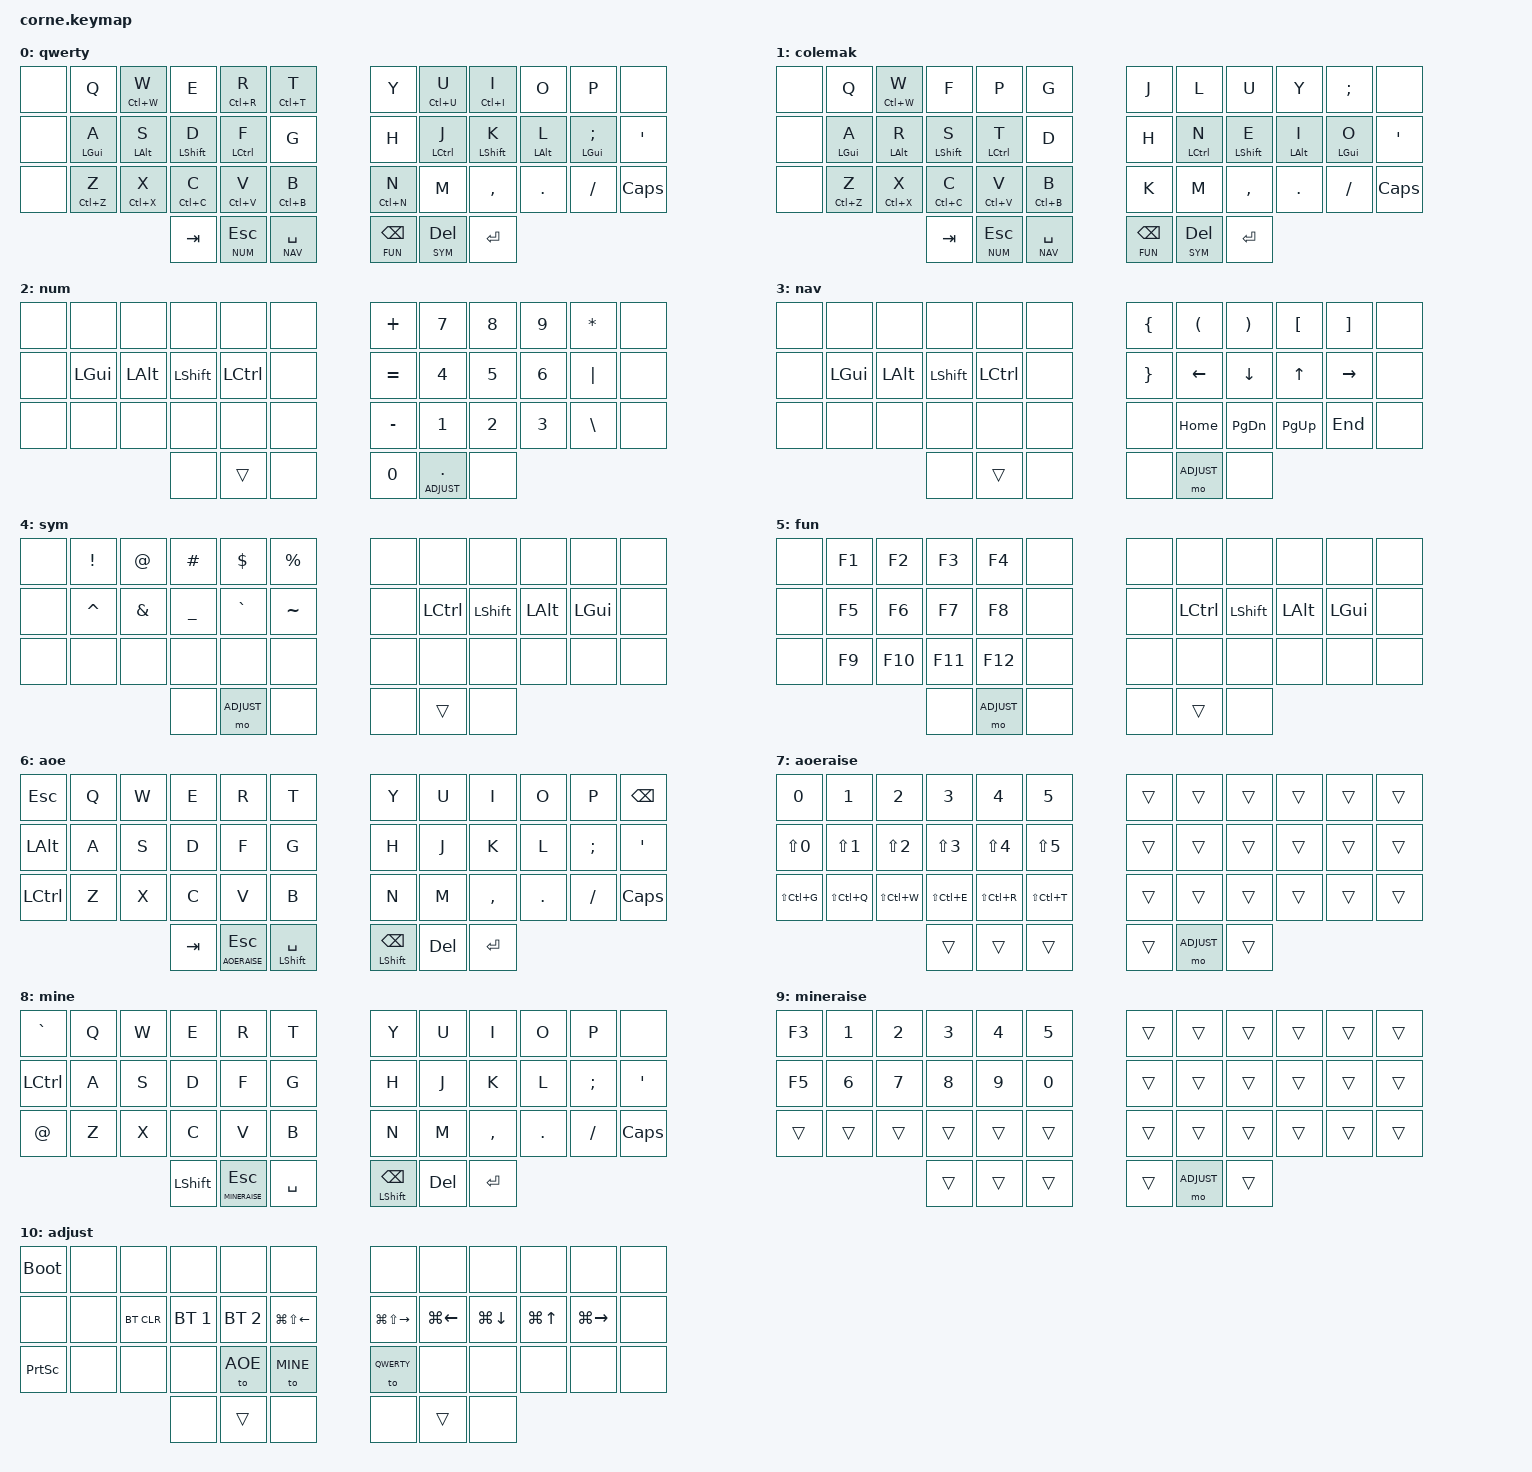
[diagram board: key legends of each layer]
/*
 * Copyright (c) 2020 The ZMK Contributors
 *
 * SPDX-License-Identifier: MIT
 */

#include <behaviors.dtsi>
#include <dt-bindings/zmk/outputs.h>
#include <dt-bindings/zmk/rgb.h>
#include <dt-bindings/zmk/keys.h>
#include <dt-bindings/zmk/bt.h>

//Layer definitions
#define QWERTY 0
#define COLEMAK 1
#define NUM 2
#define NAV 3
#define SYM 4
#define FUN 5
#define AOE 6
#define AOERAISE 7
#define MINE 8
#define MINERAISE 9
#define ADJUST 10

/ {
    combos {
        compatible = "zmk,combos";
        combo_esc {
            timeout-ms = <50>;
            key-positions = <21 22>;
            bindings = <&kp SQT>;
            layers = <QWERTY COLEMAK>;
        };
    };
    behaviors {
        mt_s: ctrl_shift {
            compatible = "zmk,behavior-hold-tap";
            label = "HOMEROW_MODS_CTRL_SHIFT";
            #binding-cells = <2>;
            tapping-term-ms = <180>;
            quick_tap_ms = <0>;
            flavor = "balanced";
            bindings = <&kp>, <&kp>;
        };
        mt_l: alt_gui {
            compatible = "zmk,behavior-hold-tap";
            label = "HOMEROW_MODS_ALT_GUI";
            #binding-cells = <2>;
            tapping-term-ms = <300>;
            quick_tap_ms = <0>;
            flavor = "tap-preferred";
            bindings = <&kp>, <&kp>;
        };
    };

    keymap {
            compatible = "zmk,keymap";

            qwerty {
// GASC home row mods. Layer key mods. Mod tap for zxcv. Mod tap for backspace/shift
// ------------------------------------   --------------------------------------
// |    |  Q  |  W  |  E  |  R  |  T  |   |  Y  |  U  |  I  |  O  |  P  |      |
// |    |  A  |  S  |  D  |  F  |  G  |   |  H  |  J  |  K  |  L  |  ;  |  '   |
// |    |  Z  |  X  |  C  |  V  |  B  |   |  N  |  M  |  ,  |  .  |  /  | CAPS |
//                  | TAB | NUM | NAV |   | FUN | SYM | ENT|
//                        | ESC | SPC |   | BSP | DEL |
        bindings = <
    &none   &kp Q           &mt_l LC(W) W   &kp E           &mt_l LC(R) R   &mt_l LC(T) T   /**/    &kp Y           &mt_l LC(U) U   &mt_l LC(I) I  &kp O        &kp P           &none
    &none   &mt_l LGUI A    &mt_l LALT S    &mt_s LSHFT D   &mt_s LCTRL F   &kp G           /**/    &kp H           &mt_s LCTRL J   &mt_s LSHFT K  &mt_l LALT L &mt_l LGUI SEMI &kp SQT
    &none   &mt_l LC(Z) Z   &mt_l LC(X) X   &mt_l LC(C) C   &mt_l LC(V) V   &mt_l LC(B) B   /**/    &mt_l LC(N) N   &kp M           &kp COMMA      &kp DOT      &kp FSLH        &kp CAPS
                                            &kp TAB         &lt NUM ESC   	&lt NAV SPACE   /**/    &lt FUN BSPC  	&lt SYM DEL   	&kp ENTER
                        >;
            };

            colemak {
// GASC home row mods. Layer key mods. Mod tap for zxcv. Mod tap for backspace/shift
// ------------------------------------   --------------------------------------
// |    |  Q  |  W  |  F  |  P  |  G  |   |  J  |  L  |  U  |  Y  |  ;  |      |
// |    |  A  |  R  |  S  |  T  |  D  |   |  H  |  N  |  E  |  I  |  O  |  '   |
// |    |  Z  |  X  |  C  |  V  |  B  |   |  K  |  M  |  ,  |  .  |  /  | CAPS |
//                  | TAB | NUM | NAV |   | FUN | SYM | ENT |
//                        | ESC | SPC |   | BSP | DEL |
        bindings = <
    &none   &kp Q          &mt_l LC(W) W    &kp F           &kp P           &kp G           /**/    &kp J   		&kp L           &kp U           &kp Y        &kp SEMI        &none
    &none   &mt_l LGUI A   &mt_l LALT R     &mt_s LSHFT S   &mt_s LCTRL T   &kp D           /**/    &kp H   		&mt_s LCTRL N   &mt_s LSHFT E   &mt_l LALT I &mt_l LGUI O   &kp SQT
    &none   &mt_l LC(Z) Z  &mt_l LC(X) X    &mt_l LC(C) C   &mt_l LC(V) V   &mt_l LC(B) B   /**/    &kp K   		&kp M           &kp COMMA       &kp DOT      &kp FSLH       &kp CAPS
                                            &kp TAB         &lt NUM ESC   	&lt NAV SPACE   /**/    &lt FUN BSPC  	&lt SYM DEL   	&kp ENTER
                        >;
            };

            num {
// ------------------------------------------   ----------------------------------------------
// |       |     |     |      |      |      |   |  +   |  7    |  8    |  9   |   *   |      |
// |       |     |     |      |      |      |   |  =   |  4    |  5    |  6   |   |   |      |
// |       |     |     |      |      |      |   |  -   |  1    |  2    |  3   |   \   |      |
//                     |      |      |      |   |  0   | ADJ/. |       |
        bindings = <
    &none	&none		&none		&none		&none  		&none    	/**/	&kp PLUS   	    &kp N7  		&kp N8	&kp N9  &kp STAR	&none
	&none   &kp LGUI	&kp LALT	&kp LSHFT   &kp LCTRL  	&none   	/**/    &kp EQUAL	    &kp N4			&kp N5  &kp N6	&kp PIPE	&none
	&none   &none		&none		&none    	&none   	&none   	/**/	&kp MINUS	    &kp N1			&kp N2	&kp N3	&kp BSLH	&none
	                    			&none       &trans      &none      	/**/    &kp N0			&lt ADJUST DOT	&none
                        >;
            };

            nav {
// ------------------------------------------   ----------------------------------------------
// |       |     |     |      |      |      |   |  {   |   (   |   )   |  [   |   ]   |      |
// |       |     |     |      |      |      |   |  }   |  LEFT |  DOWN |  UP  | RIGHT |      |
// |       |     |     |      |      |      |   |      |  HOME |  PGDN | PGUP |  END  |      |
//                     |      |      |      |   |      |       |       |      |
        bindings = <
    &none	&none		&none		&none		&none  		&none    	/**/    &kp LBRC	&kp LPAR	&kp RPAR    &kp LBKT    &kp RBKT	&none
	&none   &kp LGUI	&kp LALT	&kp LSHFT   &kp LCTRL   &none   	/**/    &kp RBRC	&kp LEFT   	&kp DOWN	&kp UP		&kp RIGHT	&none
	&none   &none		&none		&none    	&none   	&none   	/**/    &none   	&kp HOME    &kp PG_DN   &kp PG_UP   &kp END		&none
	                    			&none       &trans      &none      	/**/    &none  		&mo ADJUST  &none
                        >;
            };

			sym {
// ------------------------------------------   ----------------------------------------------
// |       |  !  |  @  |  #   |  $   |  %   |   |      |       |       |      |       |      |
// |       |  ^  |  &  |  _   |  `   |  ~   |   |      |       |       |      |       |      |
// |       |     |     |      |      |      |   |      |       |       |      |       |      |
//                     |      |      |      |   |      |       |       |
        bindings = <
    &none	&kp	EXCL	&kp AT		&kp HASH	&kp DLLR	&kp PRCNT  	/**/	&none	&none  		&none		&none  		&none		&none
	&none   &kp CARET	&kp AMPS	&kp UNDER   &kp GRAVE   &kp TILDE   /**/    &none	&kp LCTRL	&kp LSHFT	&kp LALT	&kp LGUI	&none
	&none   &none		&none		&none    	&none   	&none   	/**/	&none	&none		&none		&none		&none		&none
	                    			&none       &mo ADJUST  &none      	/**/    &none	&trans		&none
                        >;
            };

			fun {
// ------------------------------------------   ----------------------------------------------
// |       |  F1 |  F2 |  F3  |  F4  |      |   |      |       |       |      |       |      |
// |       |  F5 |  F6 |  F7  |  F8  |      |   |      |       |       |      |       |      |
// |       |  F9 |  F10|  F11 |  F12 |      |   |      |       |       |      |       |      |
//                     |      |      |      |   |      |       |       |
        bindings = <
    &none	&kp	F1	&kp F2	&kp F3	&kp F4		&none  	/**/	&none	&none  		&none		&none  		&none		&none
	&none   &kp F5	&kp F6	&kp F7	&kp F8  	&none	/**/    &none	&kp LCTRL	&kp LSHFT	&kp LALT	&kp LGUI	&none
	&none   &kp F9	&kp F10	&kp F11 &kp F12		&none   /**/	&none	&none		&none		&none		&none		&none
	                		&none   &mo ADJUST 	&none  	/**/    &none	&trans		&none
                        >;
            };

            aoe {
// -------------------------------------   -------------------------------------
// | ESC |  Q  |  W  |  E  |  R  |  T  |   |  Y  |  U  |  I  |  O  |  P  | BSPC|
// | ALT |  A  |  S  |  D  |  F  |  G  |   |  H  |  J  |  K  |  L  |  ;  |  '  |
// | CTRL|  Z  |  X  |  C  |  V  |  B  |   |  N  |  M  |  ,  |  .  |  /  | CAPS|
//                   | TAB | AOER|SH/SP|   |LSHFT| XXX |ENTER|
// -------------------------------------   -------------------------------------
        bindings = <
    &kp ESC     &kp Q   &kp W   &kp E       &kp R               &kp T           /**/    &kp Y       	&kp U       &kp I       &kp O   &kp P       &kp BSPC
    &kp LALT    &kp A   &kp S   &kp D       &kp F               &kp G           /**/    &kp H       	&kp J       &kp K       &kp L   &kp SEMI    &kp SQT
    &kp LCTRL   &kp Z   &kp X   &kp C       &kp V               &kp B           /**/    &kp N       	&kp M       &kp COMMA   &kp DOT &kp FSLH    &kp CAPS
                                &kp TAB		&lt AOERAISE ESC    &mt LSHFT SPACE /**/    &mt LSHFT BSPC	&kp DEL     &kp ENTER
                    >;
            };
            aoeraise {
// -------------------------------------   -------------------------------------
// |  0  |  1  |  2  |  3  |  4  |  5  |   |     |     |     |     |     |     |
// |LS(0)|LS(1)|LS(2)|LS(3)|LS(4)|LS(5)|   |     |     |     |     |     |     |
// |SC(G)|SC(Q)|SC(W)|SC(E)|SC(R)|SC(T)|   |     |     |     |     |     |     |
//                   |     |     |     |   |     | ADJ |     |
// -------------------------------------   -------------------------------------
        bindings = <
    &kp N0          &kp N1          &kp N2          &kp N3          &kp N4          &kp N5          /**/    &trans      &trans      &trans  &trans  &trans  &trans
    &kp LS(N0)      &kp LS(N1)      &kp LS(N2)      &kp LS(N3)      &kp LS(N4)      &kp LS(N5)      /**/    &trans      &trans      &trans  &trans  &trans  &trans
    &kp LS(LC(G))   &kp LS(LC(Q))   &kp LS(LC(W))   &kp LS(LC(E))   &kp LS(LC(R))   &kp LS(LC(T))   /**/    &trans      &trans      &trans  &trans  &trans  &trans
                                                    &trans          &trans          &trans          /**/    &trans      &mo ADJUST  &trans
                    >;
            };
            mine {
// -------------------------------------   -------------------------------------
// |  `  |  Q  |  W  |  E  |  R  |  T  |   |  Y  |  U  |  I  |  O  |  P  | BSPC|
// | CTRL|  A  |  S  |  D  |  F  |  G  |   |  H  |  J  |  K  |  L  |  ;  |  '  |
// |  @  |  Z  |  X  |  C  |  V  |  B  |   |  N  |  M  |  ,  |  .  |  /  | CAPS|
//                   |SHIFT| MNRS|SPACE|   |LSHFT| XXX |ENTER|
// -------------------------------------   -------------------------------------
        bindings = <
    &kp GRAVE   &kp Q   &kp W   &kp E       &kp R               &kp T           /**/    &kp Y           &kp U   &kp I       &kp O       &kp P       &none
    &kp LCTRL   &kp A   &kp S   &kp D       &kp F               &kp G           /**/    &kp H           &kp J   &kp K       &kp L       &kp SEMI    &kp SQT
    &kp AT      &kp Z   &kp X   &kp C       &kp V               &kp B           /**/    &kp N           &kp M   &kp COMMA   &kp DOT     &kp FSLH    &kp CAPS
                                &kp LSHFT   &lt MINERAISE ESC   &kp SPACE       /**/    &mt LSHFT BSPC  &kp DEL &kp ENTER
                    >;
            };
            mineraise {
// -------------------------------------   -------------------------------------
// | F3  |  1  |  2  |  3  |  4  |  5  |   |     |     |     |     |     |     |
// | F5  |  6  |  7  |  8  |  9  |  0  |   |     |     |     |     |     |     |
// |     |     |     |     |     |     |   |     |     |     |     |     |     |
//                   |     |     |     |   |     | ADJ |     |
// -------------------------------------   -------------------------------------
        bindings = <
    &kp F3      &kp N1      &kp N2  &kp N3  &kp N4  &kp N5  /**/    &trans      &trans      &trans  &trans  &trans  &trans
    &kp F5      &kp N6      &kp N7  &kp N8  &kp N9  &kp N0  /**/    &trans      &trans      &trans  &trans  &trans  &trans
    &trans      &trans      &trans  &trans  &trans  &trans  /**/    &trans      &trans      &trans  &trans  &trans  &trans
                                    &trans  &trans  &trans  /**/    &trans      &mo ADJUST  &trans
                    >;
            };
            adjust {
// -------------------------------------   -------------------------------------
// |RESET|     |     |     |     |     |   |     |     |     |     |     |     |
// |     |     |BTCLR| BT1 | BT2 |SG(L)|   |SG(R)|LG(L)|LG(D)|LG(U)|LG(R)|     |
// |PSCRN|     |     |     | AOE | MINE|   |COLEM|QWERT|     |     |     |     |
//                   |     |     |     |   |     |     |     |
// -------------------------------------   -------------------------------------
        bindings = <
    &bootloader &none   &none       &none           &none           &none               /**/    &none               &none           &none           &none       &none           &none
    &none       &none   &bt BT_CLR  &bt BT_SEL 1    &bt BT_SEL 2    &kp LG(LS(LEFT))    /**/    &kp LG(LS(RIGHT))   &kp LG(LEFT)    &kp LG(DOWN)    &kp LG(UP)  &kp LG(RIGHT)   &none
    &kp PSCRN	&none   &none       &none           &to AOE         &to MINE            /**/    &to QWERTY         	&none      		&none           &none       &none           &none
                                	&none           &trans          &none               /**/    &none               &trans           &none
            >;
        };
    };
};
